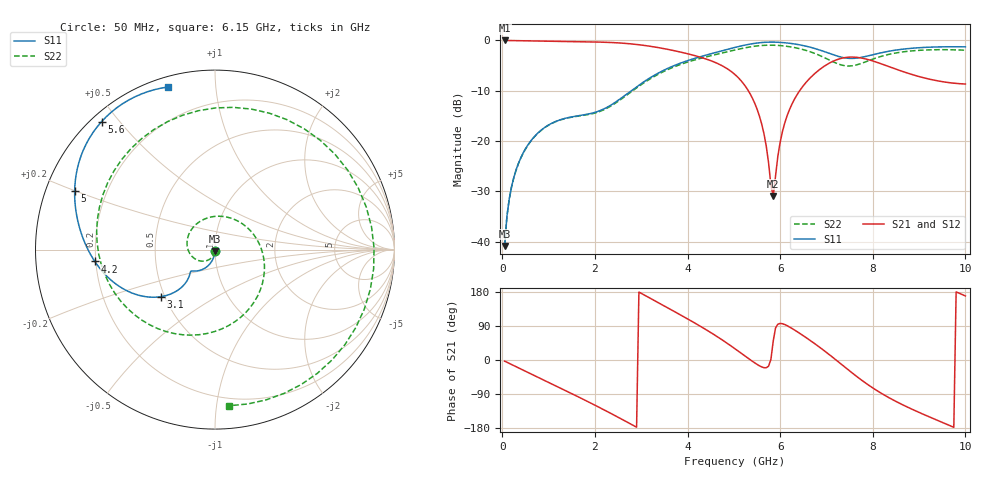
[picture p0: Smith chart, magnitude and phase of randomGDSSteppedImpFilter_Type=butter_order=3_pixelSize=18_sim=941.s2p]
! freq	dB(S11)	phase(S11)	dB(S12)	phase(S12)
!  dB(S21)	phase(S21)	dB(S22)	phase(S22)
!S-par simulation data
#  GHz  S  DB  R 50
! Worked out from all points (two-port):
!   200 points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, 50 MHz to 10 GHz, reference 50 ohm
!   highest |S21| = -0.01 dB at 50 MHz (marker M1); lowest = -30.9 dB at 5.85 GHz (marker M2)
!   |S21| within 3 dB of the highest: start of sweep to 4.152 GHz
!   lowest |S11| = -40.9 dB at 50 MHz (marker M3), VSWR 1.02, Z = 50 - j0.904 ohm
!   |S11| at or under -10 dB: start of sweep to 2.783 GHz
!   |S22| runs from -40.9 to -0.9 dB; largest |S21 - S12| = 0
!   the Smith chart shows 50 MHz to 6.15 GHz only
!   S11 on the Smith chart (normalised r, x): 50 MHz: 1.00, -0.02; 3.1 GHz: 0.48, -0.30; 4.2 GHz: 0.20, -0.05; 5 GHz: 0.09, +0.20; 5.6 GHz: 0.03, +0.45; 6.15 GHz: 0.05, +0.75
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0.05  -40.87 -90.9  -0.01 -3.0  -0.01 -3.0  -40.89 -93.0
0.2  -29.08 -97.7  -0.02 -11.9  -0.02 -11.9  -29.11 -105.8
0.5  -21.55 -109.6  -0.07 -29.7  -0.07 -29.7  -21.61 -130.4
1.15  -16.12 -130.5  -0.19 -68.0  -0.19 -68.0  -16.16 173.4
1.75  -14.81 -138.0  -0.27 -103.8  -0.27 -103.8  -14.90 109.3
2.5  -11.91 -131.4  -0.49 -151.0  -0.49 -151.0  -12.12 8.1
3.1  -7.96 -139.0  -1.03 169.3  -1.03 169.3  -8.18 -63.8
3.4  -6.34 -147.6  -1.48 149.2  -1.48 149.2  -6.57 -95.5
4.2  -3.44 -174.4  -3.13 94.5  -3.13 94.5  -3.76 -177.8
4.6  -2.41 172.0  -4.39 64.9  -4.39 64.9  -2.82 136.1
5  -1.45 157.5  -6.59 31.8  -6.59 31.8  -1.95 82.8
5.05  -1.33 155.5  -7.00 27.5  -7.00 27.5  -1.85 75.6
5.6  -0.42 131.5  -16.57 -18.2  -16.57 -18.2  -1.01 -6.9
5.85  -0.34 119.9  -30.93 49.5  -30.93 49.5  -0.95 -43.4
6.15  -0.51 106.2  -14.98 90.6  -14.98 90.6  -1.18 -84.7
6.7  -1.48 83.4  -6.98 47.2  -6.98 47.2  -2.42 -159.5
7  -2.37 73.6  -4.84 20.0  -4.84 20.0  -3.62 153.6
7.35  -3.39 67.5  -3.50 -14.0  -3.50 -14.0  -4.95 87.0
7.8  -3.28 63.7  -3.58 -56.8  -3.58 -56.8  -4.41 -0.5
8.35  -2.14 49.6  -5.21 -99.5  -5.21 -99.5  -2.77 -72.4
9.25  -1.33 18.1  -7.75 -151.6  -7.75 -151.6  -1.87 -144.8
10  -1.28 -7.7  -8.67 169.0  -8.67 169.0  -1.95 162.6
